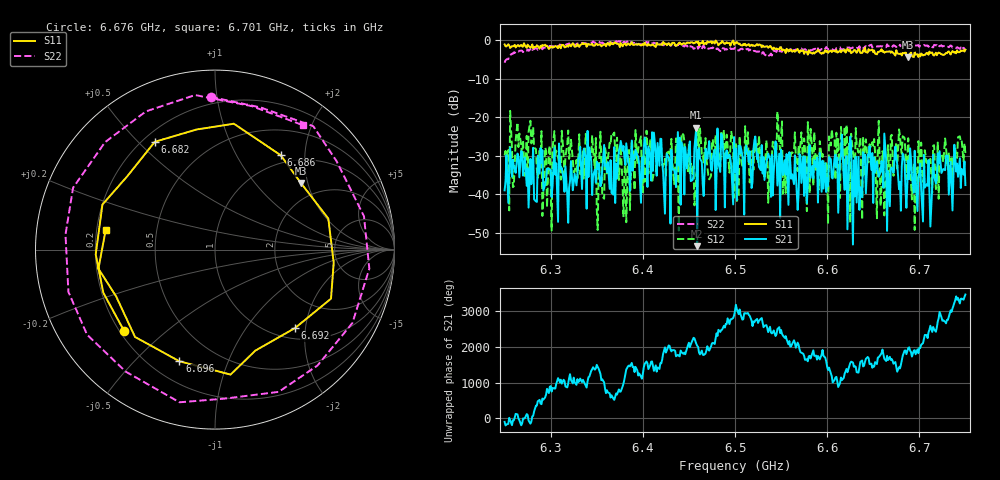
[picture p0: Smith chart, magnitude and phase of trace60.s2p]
# Hz S RI R 50
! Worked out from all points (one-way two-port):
!   401 points, 6.25 GHz to 6.75 GHz, reference 50 ohm
!   highest |S21| = -22.72 dB at 6.458 GHz (marker M1); lowest = -53.5 dB at 6.459 GHz (marker M2)
!   lowest |S11| = -4.4 dB at 6.688 GHz (marker M3), VSWR 4.07, Z = 77.3 + j90.6 ohm
!   |S11| at or under -10 dB: nowhere
!   |S22| runs from -5.8 to -0.1 dB; largest |S21 - S12| = 0.15
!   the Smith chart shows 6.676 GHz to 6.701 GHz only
!   S11 on the Smith chart (normalised r, x): 6.676 GHz: 0.22, -0.36; 6.682 GHz: 0.25, +0.56; 6.686 GHz: 0.87, +1.55; 6.692 GHz: 1.22, -1.75; 6.696 GHz: 0.31, -0.68; 6.701 GHz: 0.24, +0.08
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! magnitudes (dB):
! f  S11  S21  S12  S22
! 6.25 GHz  -1.1  -39.0  -29.9  -5.8
! 6.334 GHz  -0.9  -38.7  -33.6  -0.6
! 6.35 GHz  -0.9  -31.5  -43.9  -0.4
! 6.366 GHz  -0.9  -39.7  -24.1  -0.6
! 6.38 GHz  -0.9  -30.5  -34.8  -0.4
! 6.418 GHz  -1.1  -32.6  -27.7  -1.1
! 6.458 GHz  -0.4  -22.7  -34.7  -1.9
! 6.459 GHz  -0.6  -53.5  -33.7  -1.4
! 6.5 GHz  -0.6  -34.2  -29.4  -1.9
! 6.538 GHz  -1.5  -30.9  -31.5  -3.8
! 6.549 GHz  -1.8  -46.1  -28.4  -2.6
! 6.555 GHz  -3.3  -34.9  -39.7  -2.8
! 6.584 GHz  -3.5  -32.6  -29.3  -2.4
! 6.668 GHz  -2.8  -43.1  -41.9  -1.3
! 6.676 GHz  -3.4  -32.2  -33.4  -1.4
! 6.682 GHz  -3.2  -29.4  -24.9  -1.2
! 6.686 GHz  -3.9  -43.6  -36.0  -1.2
! 6.688 GHz  -4.4  -31.3  -25.5  -1.6
! 6.692 GHz  -4.1  -35.4  -41.4  -1.4
! 6.696 GHz  -3.7  -36.0  -33.1  -1.3
! 6.701 GHz  -4.2  -32.0  -36.0  -1.4
! 6.75 GHz  -2.4  -37.6  -29.4  -2.1
